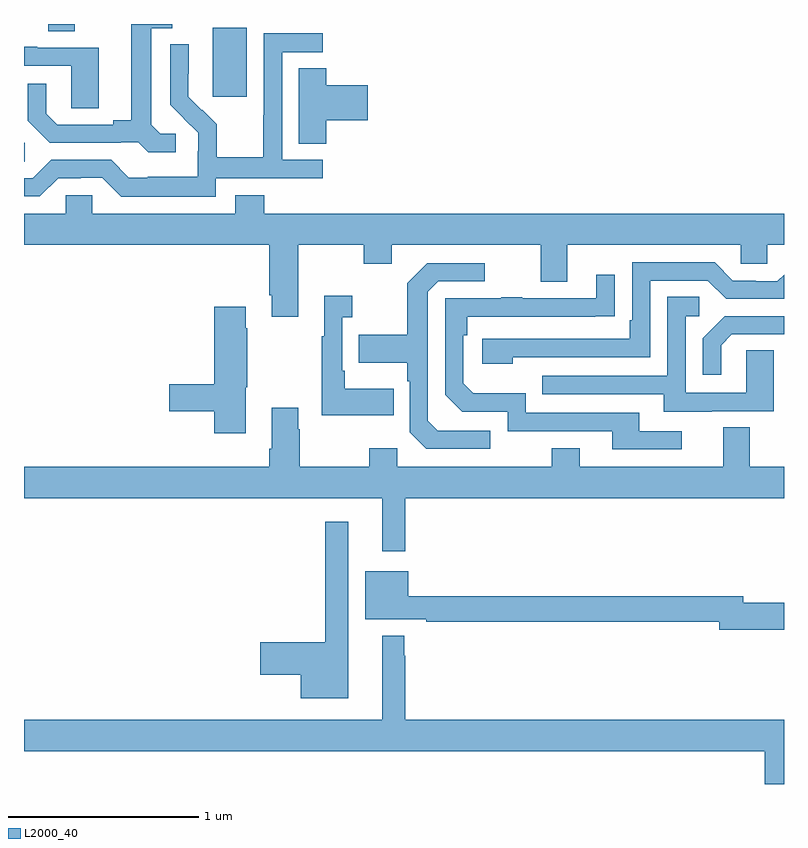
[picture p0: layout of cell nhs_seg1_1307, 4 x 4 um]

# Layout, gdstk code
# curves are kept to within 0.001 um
import gdstk
lib = gdstk.Library(unit=1e-6, precision=1e-09)
def R(c, l, rs):  # rectangles x0, y0, x1, y1
    for r in rs: c.add(gdstk.rectangle(r[:2], r[2:], *l))
def P(c, l, *ps):  # polygons
    for p in ps: c.add(gdstk.Polygon(p, *l))
L2000_40 = (2000, 40)

nhs_seg1_1307 = lib.new_cell('nhs_seg1_1307')
R(nhs_seg1_1307, L2000_40, [(181,581.473,181.003,581.574), (181.994,581.817,182.173,582.178), (181.127,582.16,181.267,582.199)])
P(nhs_seg1_1307, L2000_40, [(181.798,581.622),(181.716,581.622),(181.669,581.669),(181.669,582.177),(181.78,582.177),(181.78,582.199),(181.565,582.199),(181.565,581.693),(181.469,581.693),(181.469,581.67),(181.174,581.67),(181.117,581.727),(181.117,581.884),(181.02,581.884),(181.02,581.69),(181.136,581.574),(181.508,581.574),(181.508,581.577),(181.602,581.577),(181.654,581.525),(181.798,581.525)],
  [(182.01,581.388),(182.572,581.388),(182.572,581.484),(182.358,581.484),(182.358,582.051),(182.572,582.051),(182.572,582.15),(182.262,582.15),(182.262,581.72),(182.26,581.72),(182.26,581.497),(182.015,581.497),(182.015,581.671),(181.938,581.748),(181.935,581.745),(181.865,581.816),(181.866,582.092),(181.77,582.092),(181.77,581.774),(181.916,581.626),(181.916,581.529),(181.914,581.529),(181.914,581.395),(181.651,581.395),(181.651,581.391),(181.551,581.391),(181.458,581.484),(181.143,581.484),(181.047,581.388),(181,581.388),(181,581.292),(181.083,581.292),(181.179,581.388),(181.298,581.388),(181.298,581.391),(181.413,581.391),(181.513,581.291),(182.01,581.291)],
  [(181.393,582.075),(181.069,582.075),(181.069,582.079),(181,582.079),(181,581.979),(181.248,581.979),(181.248,581.755),(181.393,581.755)],
  [(182.591,581.693),(182.809,581.693),(182.809,581.876),(182.591,581.876),(182.591,581.966),(182.447,581.966),(182.447,581.569),(182.591,581.569)],
  [(182.443,581.036),(182.788,581.036),(182.788,580.937),(182.935,580.937),(182.935,581.036),(183.719,581.036),(183.719,580.842),(183.859,580.842),(183.859,581.036),(184.773,581.036),(184.773,580.938),(184.911,580.938),(184.911,581.036),(185,581.036),(185,581.2),(182.264,581.2),(182.264,581.299),(182.111,581.299),(182.111,581.2),(181.359,581.2),(181.359,581.298),(181.221,581.298),(181.221,581.2),(181,581.2),(181,581.036),(182.291,581.036),(182.291,580.771),(182.303,580.771),(182.303,580.659),(182.443,580.659)],
  [(183.572,580.446),(184.296,580.446),(184.296,580.848),(184.599,580.848),(184.695,580.752),(185,580.752),(185,580.88),(184.965,580.845),(184.85,580.845),(184.85,580.848),(184.731,580.848),(184.635,580.944),(184.2,580.944),(184.2,580.639),(184.187,580.639),(184.187,580.542),(183.411,580.542),(183.411,580.412),(183.572,580.412)],
  [(183.454,580.059),(183.177,580.059),(183.126,580.11),(183.126,580.791),(183.18,580.845),(183.424,580.845),(183.424,580.941),(183.123,580.941),(183.018,580.835),(183.018,580.563),(182.761,580.563),(182.761,580.415),(183.018,580.415),(183.018,580.319),(183.03,580.319),(183.03,580.05),(183.117,579.963),(183.454,579.963)],
  [(184.462,580.056),(184.237,580.056),(184.237,580.152),(183.642,580.152),(183.642,580.255),(183.365,580.255),(183.312,580.308),(183.312,580.562),(183.332,580.562),(183.332,580.659),(184.109,580.66),(184.109,580.879),(184.013,580.879),(184.013,580.755),(183.623,580.755),(183.623,580.76),(183.511,580.76),(183.511,580.755),(183.216,580.755),(183.216,580.248),(183.306,580.158),(183.546,580.158),(183.546,580.056),(184.097,580.056),(184.097,579.96),(184.462,579.96)],
  [(182.945,580.279),(182.689,580.279),(182.689,580.375),(182.676,580.375),(182.676,580.655),(182.728,580.655),(182.728,580.768),(182.579,580.768),(182.579,580.555),(182.568,580.555),(182.568,580.139),(182.945,580.139)],
  [(184.621,580.161),(184.945,580.161),(184.945,580.481),(184.8,580.481),(184.8,580.257),(184.482,580.257),(184.482,580.662),(184.555,580.662),(184.555,580.763),(184.386,580.763),(184.386,580.347),(183.727,580.347),(183.727,580.251),(184.367,580.251),(184.367,580.157),(184.621,580.157)],
  [(182.167,580.287),(182.175,580.287),(182.175,580.598),(182.167,580.598),(182.167,580.711),(182,580.711),(182,580.304),(181.764,580.304),(181.764,580.162),(182,580.162),(182,580.044),(182.167,580.044)],
  [(184.669,580.509),(184.726,580.566),(185,580.566),(185,580.662),(184.688,580.662),(184.572,580.546),(184.572,580.353),(184.669,580.353)],
  [(183.007,579.704),(185,579.704),(185,579.868),(184.819,579.868),(184.819,580.076),(184.679,580.076),(184.679,579.868),(183.925,579.868),(183.925,579.967),(183.778,579.967),(183.778,579.868),(182.964,579.868),(182.964,579.967),(182.818,579.967),(182.818,579.868),(182.451,579.868),(182.451,580.067),(182.443,580.067),(182.443,580.18),(182.303,580.18),(182.303,579.964),(182.291,579.964),(182.291,579.868),(181,579.868),(181,579.704),(182.885,579.704),(182.885,579.423),(183.007,579.423)],
  [(182.707,579.58),(182.586,579.58),(182.586,578.945),(182.244,578.945),(182.244,578.774),(182.456,578.774),(182.456,578.651),(182.707,578.651)],
  [(185,579.152),(184.786,579.152),(184.786,579.188),(183.022,579.188),(183.022,579.319),(182.795,579.319),(182.795,579.065),(183.118,579.065),(183.118,579.052),(184.658,579.052),(184.658,579.01),(185,579.01)],
  [(185,578.536),(183.007,578.536),(183.007,578.873),(183,578.873),(183,578.98),(182.885,578.98),(182.885,578.536),(181,578.536),(181,578.372),(184.898,578.372),(184.898,578.199),(185,578.199)])

lib.write_gds('nhs_seg1_1307.gds')
